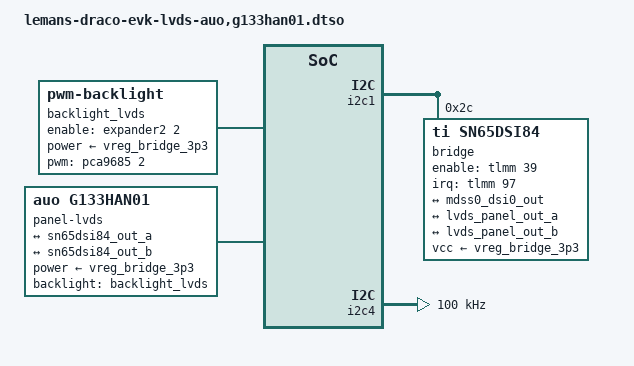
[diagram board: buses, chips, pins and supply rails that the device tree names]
// SPDX-License-Identifier: BSD-3-Clause
/*
 * Copyright (c) Qualcomm Technologies, Inc. and/or its subsidiaries.
 */

/dts-v1/;
/plugin/;

#include <dt-bindings/gpio/gpio.h>
#include <dt-bindings/interrupt-controller/irq.h>

&{/} {
	backlight_lvds: backlight {
		compatible = "pwm-backlight";
		pwms = <&pca9685 2 1000000>;
		power-supply = <&vreg_bridge_3p3>;
		enable-gpios = <&expander2 2 GPIO_ACTIVE_HIGH>;
	};

	panel-lvds {
		compatible = "auo,g133han01";
		power-supply = <&vreg_bridge_3p3>;
		backlight = <&backlight_lvds>;

		ports {
			#address-cells = <1>;
			#size-cells = <0>;

			/* LVDS Channel A - odd pixels */
			port@0 {
				reg = <0>;
				dual-lvds-odd-pixels;

				lvds_panel_out_a: endpoint {
					remote-endpoint = <&sn65dsi84_out_a>;
				};
			};

			/* LVDS Channel B - even pixels */
			port@1 {
				reg = <1>;
				dual-lvds-even-pixels;

				lvds_panel_out_b: endpoint {
					remote-endpoint = <&sn65dsi84_out_b>;
				};
			};
		};
	};
};

&hdmi_bridge {
        status = "disabled";
};

&hdmi_connector {
	status = "disabled";
};

&i2c1 {
	i2c-mux@70 {
		#address-cells = <1>;
		#size-cells = <0>;

		i2c@1 {
			reg = <1>;
			#address-cells = <1>;
			#size-cells = <0>;

			bridge@2c {
				compatible = "ti,sn65dsi84";
				reg = <0x2c>;

				enable-gpios = <&tlmm 39 GPIO_ACTIVE_HIGH>;
				interrupts-extended = <&tlmm 97 IRQ_TYPE_EDGE_FALLING>;

				vcc-supply = <&vreg_bridge_3p3>;

				pinctrl-0 = <&bridge_rst_pin &bridge_irq_pin>;
				pinctrl-names = "default";

				ports {
					#address-cells = <1>;
					#size-cells = <0>;

					port@0 {
						reg = <0>;

						sn65dsi84_in: endpoint {
							data-lanes = <1 2 3 4>;
							remote-endpoint = <&mdss0_dsi0_out>;
						};
					};

					port@2 {
						reg = <2>;

						sn65dsi84_out_a: endpoint {
							data-lanes = <1 2 3 4>;
							remote-endpoint = <&lvds_panel_out_a>;
						};
					};

					port@3 {
						reg = <3>;

						sn65dsi84_out_b: endpoint {
							data-lanes = <1 2 3 4>;
							remote-endpoint = <&lvds_panel_out_b>;
						};
					};
				};
			};
		};
	};
};

&i2c4 {
	clock-frequency = <100000>;
	status = "okay";

	pca9685: pwm@42 {
		compatible = "nxp,pca9685-pwm";
		reg = <0x42>;
		#pwm-cells = <2>;
	};
};

&mdss0_dsi0_out {
	remote-endpoint = <&sn65dsi84_in>;
};
